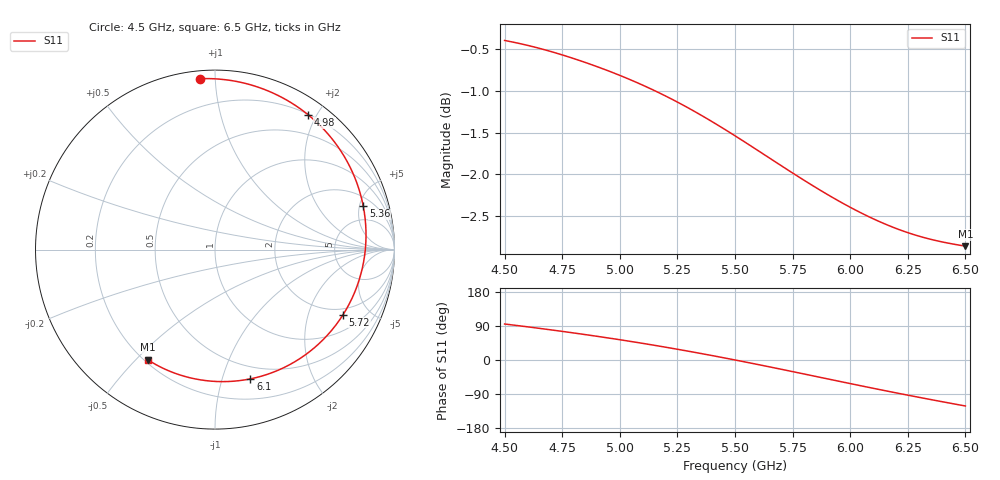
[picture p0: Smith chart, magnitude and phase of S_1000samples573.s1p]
! TOUCHSTONE file generated by CST MICROWAVE STUDIO
! Date and time: Fri Oct 28 15:44:56 2022
! Project name: L.cst
! Parameters = {Di=1.27; Epsilon_r=1.56; InnerDiameter=1.27; Length=2; Lf=10; Lg=60; OuterConductorThickness=0.2921; OuterDiameter=3.6; Wf=3; Wp=41.2; de=1.5; df=6.8; g=0.8; gx=4.83918; gy=3.64365; h=2.34; hf=1.524; px=12.4742; py=11.5457; w=9.7; wx=7.63499; wy=7.90205}
! Header version: 2018
! Port assignment regex: !\s*Touchstone port\s*([0-9]+)\s*=\s*(CST MWS port|CST DS port)\s*([0-9]+|Zmin|Zmax)\s*\(\"(.*)\"\)(\s*mode\s*([0-9]+))?.*
! Touchstone port assignment:
! Touchstone port 1 = CST MWS port 1 ("")
# GHz S DB R 50
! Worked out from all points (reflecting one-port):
!   101 points, 4.5 GHz to 6.5 GHz, reference 50 ohm
!   lowest |S11| = -2.9 dB at 6.5 GHz (marker M1), VSWR 6.12, Z = 10.7 - j27.1 ohm
!   phase of S11 starts at 95 deg and turns -216 deg over the sweep
!   S11 on the Smith chart (normalised r, x): 4.5 GHz: 0.04, +0.92; 4.98 GHz: 0.21, +1.89; 5.36 GHz: 2.93, +5.46; 5.72 GHz: 1.69, -3.40; 6.1 GHz: 0.38, -1.24; 6.5 GHz: 0.21, -0.54
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4.5  -0.39 95.0
4.58  -0.44 89.0
4.64  -0.48 84.4
4.76  -0.58 74.7
4.88  -0.69 64.4
4.98  -0.79 55.4
5  -0.81 53.5
5.12  -0.96 41.8
5.2  -1.06 33.6
5.26  -1.15 27.3
5.36  -1.30 16.3
5.44  -1.44 7.1
5.5  -1.54 0.1
5.54  -1.61 -4.7
5.6  -1.72 -12.0
5.66  -1.83 -19.4
5.72  -1.93 -26.9
5.76  -2.00 -31.9
5.82  -2.11 -39.5
5.88  -2.21 -47.1
5.94  -2.31 -54.7
6  -2.40 -62.2
6.1  -2.54 -74.6
6.18  -2.63 -84.4
6.26  -2.71 -94.0
6.32  -2.76 -101.0
6.38  -2.80 -107.9
6.5  -2.87 -121.4
